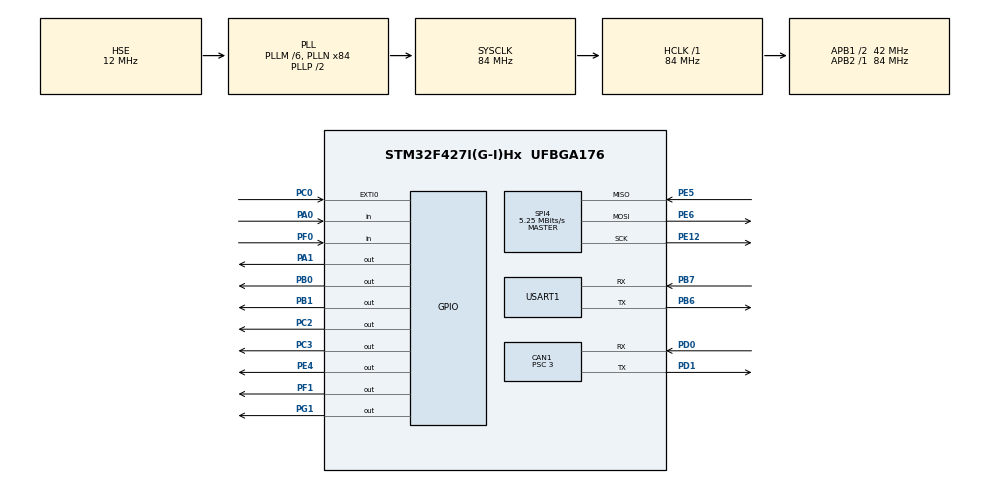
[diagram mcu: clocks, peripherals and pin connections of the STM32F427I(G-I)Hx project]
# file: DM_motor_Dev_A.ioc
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CAN1.BS1=CAN_BS1_9TQ
CAN1.BS2=CAN_BS2_4TQ
CAN1.CalculateBaudRate=1000000
CAN1.CalculateTimeBit=1000
CAN1.CalculateTimeQuantum=71.42857142857143
CAN1.Prescaler=3
Dma.Request0=USART1_RX
Dma.Request1=SPI4_TX
Dma.SPI4_TX.1.Direction=DMA_MEMORY_TO_PERIPH
Dma.SPI4_TX.1.FIFOMode=DMA_FIFOMODE_DISABLE
Dma.SPI4_TX.1.Instance=DMA2_Stream1
Dma.SPI4_TX.1.MemDataAlignment=DMA_MDATAALIGN_BYTE
Dma.SPI4_TX.1.MemInc=DMA_MINC_ENABLE
Dma.SPI4_TX.1.Mode=DMA_NORMAL
Dma.SPI4_TX.1.PeriphDataAlignment=DMA_PDATAALIGN_BYTE
Dma.SPI4_TX.1.PeriphInc=DMA_PINC_DISABLE
Dma.SPI4_TX.1.Priority=DMA_PRIORITY_LOW
Dma.USART1_RX.0.Direction=DMA_PERIPH_TO_MEMORY
Dma.USART1_RX.0.FIFOMode=DMA_FIFOMODE_DISABLE
Dma.USART1_RX.0.Instance=DMA2_Stream2
Dma.USART1_RX.0.MemDataAlignment=DMA_MDATAALIGN_BYTE
Dma.USART1_RX.0.MemInc=DMA_MINC_ENABLE
Dma.USART1_RX.0.Mode=DMA_CIRCULAR
Dma.USART1_RX.0.PeriphDataAlignment=DMA_PDATAALIGN_BYTE
Dma.USART1_RX.0.PeriphInc=DMA_PINC_DISABLE
Dma.USART1_RX.0.Priority=DMA_PRIORITY_LOW
FREERTOS.Tasks01=defaultTask,0,128,StartDefaultTask,Default,NULL,Dynamic,NULL,NULL;loadcellTask,-3,128,StartTask02,Default,NULL,Dynamic,NULL,NULL
Mcu.Family=STM32F4
Mcu.Name=STM32F427I(G-I)Hx
Mcu.Package=UFBGA176
NVIC.CAN1_RX0_IRQn=true\:5\:0\:false\:false\:true\:true\:true\:true\:true
NVIC.DMA2_Stream1_IRQn=true\:5\:0\:false\:false\:true\:true\:false\:true\:true
NVIC.DMA2_Stream2_IRQn=true\:5\:0\:false\:false\:true\:true\:false\:true\:true
NVIC.EXTI0_IRQn=true\:5\:0\:false\:false\:true\:true\:true\:true\:true
NVIC.PriorityGroup=NVIC_PRIORITYGROUP_4
NVIC.USART1_IRQn=true\:5\:0\:false\:false\:true\:true\:true\:true\:true
PA0/WKUP.GPIO_PuPd=GPIO_PULLUP
PA0/WKUP.Signal=GPIO_Input
PA1.Signal=GPIO_Output
PB0.Signal=GPIO_Output
PB1.Signal=GPIO_Output
PB6.Mode=Asynchronous
PB6.Signal=USART1_TX
PB7.Mode=Asynchronous
PB7.Signal=USART1_RX
PC0.Signal=GPXTI0
PC2.Signal=GPIO_Output
PC3.Signal=GPIO_Output
PD0.Mode=CAN_Activate
PD0.Signal=CAN1_RX
PD1.Mode=CAN_Activate
PD1.Signal=CAN1_TX
PE12.Mode=Full_Duplex_Master
PE12.Signal=SPI4_SCK
PE4.Signal=GPIO_Output
PE5.Mode=Full_Duplex_Master
PE5.Signal=SPI4_MISO
PE6.Mode=Full_Duplex_Master
PE6.Signal=SPI4_MOSI
PF0.Signal=GPIO_Input
PF1.Signal=GPIO_Output
PG1.Signal=GPIO_Output
PH0/OSC_IN.Mode=HSE-External-Oscillator
PH0/OSC_IN.Signal=RCC_OSC_IN
PH1/OSC_OUT.Mode=HSE-External-Oscillator
PH1/OSC_OUT.Signal=RCC_OSC_OUT
ProjectManager.HeapSize=0x200
ProjectManager.StackSize=0x400
ProjectManager.TargetToolchain=STM32CubeIDE
RCC.48MHZClocksFreq_Value=42000000
RCC.AHBFreq_Value=84000000
RCC.APB1CLKDivider=RCC_HCLK_DIV2
RCC.APB1Freq_Value=42000000
RCC.APB1TimFreq_Value=84000000
RCC.APB2Freq_Value=84000000
RCC.APB2TimFreq_Value=84000000
RCC.CortexFreq_Value=84000000
RCC.HCLKFreq_Value=84000000
RCC.HSE_VALUE=12000000
RCC.HSI_VALUE=16000000
RCC.LSE_VALUE=32768
RCC.PLLM=6
RCC.PLLN=84
RCC.PLLSourceVirtual=RCC_PLLSOURCE_HSE
RCC.SYSCLKFreq_VALUE=84000000
RCC.SYSCLKSource=RCC_SYSCLKSOURCE_PLLCLK
RCC.VCOOutputFreq_Value=168000000
SPI4.BaudRatePrescaler=SPI_BAUDRATEPRESCALER_16
SPI4.CalculateBaudRate=5.25 MBits/s
SPI4.DataSize=SPI_DATASIZE_8BIT
SPI4.Direction=SPI_DIRECTION_2LINES
SPI4.Mode=SPI_MODE_MASTER
SPI4.VirtualType=VM_MASTER
USART1.VirtualMode=VM_ASYNC
VP_FREERTOS_VS_CMSIS_V1.Mode=CMSIS_V1
board=custom

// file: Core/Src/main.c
/* USER CODE BEGIN Header */
/**
  ******************************************************************************
  * @file           : main.c
  * @brief          : Main program body
  ******************************************************************************
  * @attention
  *
  * Copyright (c) 2025 STMicroelectronics.
  * All rights reserved.
  *
  * This software is licensed under terms that can be found in the LICENSE file
  * in the root directory of this software component.
  * If no LICENSE file comes with this software, it is provided AS-IS.
  *
  ******************************************************************************
  */
/* USER CODE END Header */
#include "main.h"
#include "cmsis_os.h"

/* USER CODE BEGIN Includes */
#include "remote_control.h"
#include "hx711.h"
#include "./LCD_tft/z_displ_ILI9XXX.h"
#include "./LCD_tft/z_touch_XPT2046.h"
#include "bsp_damiao.h"
#include <math.h>

/* USER CODE END Includes */

/* USER CODE BEGIN PTD */
int16_t motor_rpm1;
/* USER CODE END PTD */

CAN_HandleTypeDef hcan1;

SPI_HandleTypeDef hspi4;
DMA_HandleTypeDef hdma_spi4_tx;

UART_HandleTypeDef huart1;
DMA_HandleTypeDef hdma_usart1_rx;

osThreadId defaultTaskHandle;
osThreadId loadcellTaskHandle;
/* USER CODE BEGIN PV */
RC_ctrl_t rc_ctrl;
HX711 hx;
int32_t weight;
int32_t value;
extern int16_t _width;       								///< (oriented) display width
extern int16_t _height;
extern dm_motor_t dm_pitch_motor;
float target_rpm = 0.0f;          /* Desired speed setpoint in RPM; update this variable to change target */
float commanded_rpm = 0.0f;       /* Internally ramped RPM command */
float measured_rpm = 0.0f;
float pid_int = 0.0f;
float pid_prev_err = 0.0f;

float target_position = 0.0f;
float current_position = 0.0f;
int round_counter = 0;
float tolerance = 0.06f;
float prev_pos = 0.0f;

//faster pid values
//static float pos_kp = 7.0f;
//static float pos_kd = 0.4f;

//not as fast pid values
float pos_kp = 0.5f;
float pos_kd = 0.0f;

/* USER CODE END PV */

void SystemClock_Config(void);
static void MX_GPIO_Init(void);
static void MX_DMA_Init(void);
static void MX_CAN1_Init(void);
static void MX_USART1_UART_Init(void);
static void MX_SPI4_Init(void);
void StartDefaultTask(void const * argument);
void StartTask02(void const * argument);

/* USER CODE BEGIN 0 */
void setup_can(){
 CAN_FilterTypeDef can_filter_st = {0};
 can_filter_st.FilterActivation = ENABLE;
 can_filter_st.FilterMode = CAN_FILTERMODE_IDMASK;
 can_filter_st.FilterScale = CAN_FILTERSCALE_32BIT;
 can_filter_st.FilterIdHigh = 0;
 can_filter_st.FilterIdLow = 0;
 can_filter_st.FilterMaskIdHigh = 0;
 can_filter_st.FilterMaskIdLow = 0;
 can_filter_st.FilterBank=0;
 can_filter_st.FilterFIFOAssignment = CAN_RX_FIFO0;
 HAL_CAN_ConfigFilter(&hcan1, &can_filter_st);
 HAL_CAN_Start(&hcan1);
 HAL_CAN_ActivateNotification(&hcan1,CAN_IT_RX_FIFO0_MSG_PENDING | CAN_IT_RX_FIFO0_FULL| CAN_IT_RX_FIFO0_OVERRUN);
}

void HAL_CAN_RxFifo0MsgPendingCallback(CAN_HandleTypeDef *hcan){
CAN_RxHeaderTypeDef rx_header;
uint8_t rx_buffer[8];
HAL_CAN_DeactivateNotification(hcan,
  CAN_IT_RX_FIFO0_MSG_PENDING | CAN_IT_RX_FIFO0_FULL| CAN_IT_RX_FIFO0_OVERRUN);
HAL_CAN_GetRxMessage(hcan, CAN_RX_FIFO0, &rx_header, rx_buffer);

if (rx_header.StdId == 0x203)
{
	motor_rpm1 = (rx_buffer[2] << 8) + rx_buffer[3];
}
/* DM4310 feedback frame: StdId = master ID (0x00). Byte0 low nibble holds motor ID. */
if (rx_header.StdId == 0x00) {
	uint8_t motor_id = rx_buffer[0] & 0x0F;
	if (motor_id == (dm_pitch_motor.id & 0x0F)) {
		dm4310_fbdata(&dm_pitch_motor, rx_buffer);
		measured_rpm = dm_pitch_motor.para.vel * (60.0f / (2.0f * (float)M_PI));
		if ((dm_pitch_motor.para.pos < - 12.5 + tolerance) && (prev_pos > 12.5 - tolerance) ){
			round_counter += 1;
		}
		if ((dm_pitch_motor.para.pos > 12.5 - tolerance) && (prev_pos < - 12.5 + tolerance)) {
			round_counter -= 1;
		}
		current_position = round_counter*8*PI + dm_pitch_motor.para.pos;
		prev_pos = dm_pitch_motor.para.pos;
	}
}

HAL_CAN_ActivateNotification(hcan,
  CAN_IT_RX_FIFO0_MSG_PENDING | CAN_IT_RX_FIFO0_FULL| CAN_IT_RX_FIFO0_OVERRUN);
}

void ctrl_motor(int16_t torque1){
 uint8_t tx_msg[8];
 CAN_TxHeaderTypeDef CAN_tx_message;
 uint32_t send_mail_box;
 CAN_tx_message.IDE = CAN_ID_STD;
 CAN_tx_message.RTR = CAN_RTR_DATA;
 CAN_tx_message.DLC = 0x08;
 CAN_tx_message.StdId = 0x200;
 tx_msg[4] = torque1>>8;
 tx_msg[5] = torque1;
 HAL_CAN_AddTxMessage(&hcan1, &CAN_tx_message, tx_msg, &send_mail_box);
}

#define KP 10
#define KI 0.1
#define KD 0
#define INT_MAX 5000
int16_t pid_lol(int16_t setpt, int16_t curr_pt){
	static float integral;
	static float prev_error;
	float error = setpt - curr_pt;
	integral += error * KI;
	integral = (integral > INT_MAX) ? INT_MAX : (integral < -INT_MAX) ? -INT_MAX : integral;
	float diff = (prev_error - error) * KD;
	prev_error = error;
	return (error * KP) + integral + diff;

}

static float pid_speed_step(float setpoint_rpm, float measured_rpm_val, float dt_s)
{
	const float kp = 0.8f;
	const float ki = 0.6f;
	const float kd = 0.0f;
	const float i_limit = 500.0f;    /* Integral windup guard */
	const float out_limit = 2000.0f; /* Command clamp in RPM */

	float err = setpoint_rpm - measured_rpm_val;
	pid_int += err * ki * dt_s;
	if (pid_int > i_limit) pid_int = i_limit;
	else if (pid_int < -i_limit) pid_int = -i_limit;

	float der = (err - pid_prev_err) / dt_s;
	pid_prev_err = err;

	float out = kp * err + pid_int + kd * der;
	if (out > out_limit) out = out_limit;
	else if (out < -out_limit) out = -out_limit;
	return out;
}

#define SPEED rc_ctrl.rc.ch[0]

void HAL_GPIO_EXTI_Callback(uint16_t GPIO_Pin) {
	if (GPIO_Pin == GPIO_PIN_0) {
		hx.ready = true;
	}
	if (GPIO_Pin==TOUCH_INT_Pin){
			Touch_HandlePenDownInterrupt();
		}
}

void tft_set_addr_window(uint16_t x0,uint16_t y0,uint16_t x1,uint16_t y1)
{
    uint8_t caset[4] = { x0>>8, x0&0xFF, x1>>8, x1&0xFF };
    uint8_t raset[4] = { y0>>8, y0&0xFF, y1>>8, y1&0xFF };

    Displ_WriteCommand(0x2A);
    Displ_WriteData(caset,4,0);

    Displ_WriteCommand(0x2B);
    Displ_WriteData(raset,4,0);

    Displ_WriteCommand(0x2C); // RAMWR
}

void tft_put_pixel(uint16_t x,uint16_t y,uint16_t color)
{
    tft_set_addr_window(x,y,x,y);
    uint8_t px[2] = {color>>8, color&0xFF};
    Displ_WriteData(px, 2, 1);
}

/* USER CODE END 0 */

int main(void)
{

  /* MCU Configuration--------------------------------------------------------*/

  /* Reset of all peripherals, Initializes the Flash interface and the Systick. */
  HAL_Init();

  /* Configure the system clock */
  SystemClock_Config();

  /* Initialize all configured peripherals */
  MX_GPIO_Init();
  MX_DMA_Init();
  MX_CAN1_Init();
  MX_USART1_UART_Init();
  MX_SPI4_Init();
  /* USER CODE BEGIN 2 */
//  HAL_GPIO_WritePin(GPIOE, GPIO_PIN_4, GPIO_PIN_SET);
//  HAL_GPIO_WritePin(GPIOB, GPIO_PIN_1, GPIO_PIN_SET);
  setup_can();

//  remote_control_init();
//  hx711_init(&hx, GPIOF, GPIO_PIN_0, GPIOF, GPIO_PIN_1,HX711_GAIN_128);
//  Displ_Init(Displ_Orientat_0);
//  InitMenu();

  // Example: red, green, blue pixels in top row
//  tft_put_pixel(0,0,0xF800);
//  tft_put_pixel(1,0,0x07E0);
//  tft_put_pixel(2,0,0x001F);
//  Displ_WriteCommand(0x2A);
//  uint8_t colData[4] = {0x00,0x00, 0x01,0x3F};
//  Displ_WriteData(colData,4,0);
//
//  // Page range 0–479
//  Displ_WriteCommand(0x2B);
//  uint8_t pageData[4] = {0x00,0x00, 0x01,0xDF};
//  Displ_WriteData(pageData,4,0);
//
//  // Memory write
//  Displ_WriteCommand(0x2C);

//  Displ_FillArea(0,0, _width, _height, RED);
//  Displ_WriteCommand(0x2A);   // Column Address Set
//  uint8_t colData[4] = {0x00, 0x00, 0x01, 0x3F}; // 0..319
//  Displ_WriteData(colData, 4, 0);
//
//
//  Displ_WriteCommand(0x2B);   // Page Address Set
//  uint8_t pageData[4] = {0x00, 0x00, 0x01, 0xDF}; // 0..479
//  Displ_WriteData(pageData, 4, 0);
//
//  Displ_WriteCommand(0x2C);
//
//  HAL_GPIO_WritePin(DISPL_DC_GPIO_Port, DISPL_DC_Pin, GPIO_PIN_SET);
//  for (int i = 0; i < 320 * 480; i++) {
//      uint8_t black[2] = {0xFF, 0xFF};
//      Displ_WriteData(black, 2, 0);
//  }

  /* USER CODE END 2 */

  /* Create the thread(s) */
  /* definition and creation of defaultTask */
  osThreadDef(defaultTask, StartDefaultTask, osPriorityNormal, 0, 128);
  defaultTaskHandle = osThreadCreate(osThread(defaultTask), NULL);

  /* definition and creation of loadcellTask */
//  osThreadDef(loadcellTask, StartTask02, osPriorityIdle, 0, 128);
//  loadcellTaskHandle = osThreadCreate(osThread(loadcellTask), NULL);

  /* Start scheduler */
  osKernelStart();

  /* We should never get here as control is now taken by the scheduler */
  /* Infinite loop */
  while (1)
  {

  }
}

void SystemClock_Config(void)
{
  RCC_OscInitTypeDef RCC_OscInitStruct = {0};
  RCC_ClkInitTypeDef RCC_ClkInitStruct = {0};

  /** Configure the main internal regulator output voltage
  */
  __HAL_RCC_PWR_CLK_ENABLE();
  __HAL_PWR_VOLTAGESCALING_CONFIG(PWR_REGULATOR_VOLTAGE_SCALE3);

  /** Initializes the RCC Oscillators according to the specified parameters
  * in the RCC_OscInitTypeDef structure.
  */
  RCC_OscInitStruct.OscillatorType = RCC_OSCILLATORTYPE_HSE;
  RCC_OscInitStruct.HSEState = RCC_HSE_ON;
  RCC_OscInitStruct.PLL.PLLState = RCC_PLL_ON;
  RCC_OscInitStruct.PLL.PLLSource = RCC_PLLSOURCE_HSE;
  RCC_OscInitStruct.PLL.PLLM = 6;
  RCC_OscInitStruct.PLL.PLLN = 84;
  RCC_OscInitStruct.PLL.PLLP = RCC_PLLP_DIV2;
  RCC_OscInitStruct.PLL.PLLQ = 4;
  if (HAL_RCC_OscConfig(&RCC_OscInitStruct) != HAL_OK)
  {
    Error_Handler();
  }

  /** Initializes the CPU, AHB and APB buses clocks
  */
  RCC_ClkInitStruct.ClockType = RCC_CLOCKTYPE_HCLK|RCC_CLOCKTYPE_SYSCLK
                              |RCC_CLOCKTYPE_PCLK1|RCC_CLOCKTYPE_PCLK2;
  RCC_ClkInitStruct.SYSCLKSource = RCC_SYSCLKSOURCE_PLLCLK;
  RCC_ClkInitStruct.AHBCLKDivider = RCC_SYSCLK_DIV1;
  RCC_ClkInitStruct.APB1CLKDivider = RCC_HCLK_DIV2;
  RCC_ClkInitStruct.APB2CLKDivider = RCC_HCLK_DIV1;

  if (HAL_RCC_ClockConfig(&RCC_ClkInitStruct, FLASH_LATENCY_2) != HAL_OK)
  {
    Error_Handler();
  }
}

static void MX_CAN1_Init(void)
{

  hcan1.Instance = CAN1;
  hcan1.Init.Prescaler = 3;
  hcan1.Init.Mode = CAN_MODE_NORMAL;
  hcan1.Init.SyncJumpWidth = CAN_SJW_1TQ;
  hcan1.Init.TimeSeg1 = CAN_BS1_9TQ;
  hcan1.Init.TimeSeg2 = CAN_BS2_4TQ;
  hcan1.Init.TimeTriggeredMode = DISABLE;
  hcan1.Init.AutoBusOff = DISABLE;
  hcan1.Init.AutoWakeUp = DISABLE;
  hcan1.Init.AutoRetransmission = DISABLE;
  hcan1.Init.ReceiveFifoLocked = DISABLE;
  hcan1.Init.TransmitFifoPriority = DISABLE;
  if (HAL_CAN_Init(&hcan1) != HAL_OK)
  {
    Error_Handler();
  }

}

static void MX_SPI4_Init(void)
{

  /* SPI4 parameter configuration*/
  hspi4.Instance = SPI4;
  hspi4.Init.Mode = SPI_MODE_MASTER;
  hspi4.Init.Direction = SPI_DIRECTION_2LINES;
  hspi4.Init.DataSize = SPI_DATASIZE_8BIT;
  hspi4.Init.CLKPolarity = SPI_POLARITY_LOW;
  hspi4.Init.CLKPhase = SPI_PHASE_1EDGE;
  hspi4.Init.NSS = SPI_NSS_SOFT;
  hspi4.Init.BaudRatePrescaler = SPI_BAUDRATEPRESCALER_16;
  hspi4.Init.FirstBit = SPI_FIRSTBIT_MSB;
  hspi4.Init.TIMode = SPI_TIMODE_DISABLE;
  hspi4.Init.CRCCalculation = SPI_CRCCALCULATION_DISABLE;
  hspi4.Init.CRCPolynomial = 10;
  if (HAL_SPI_Init(&hspi4) != HAL_OK)
  {
    Error_Handler();
  }

}

static void MX_USART1_UART_Init(void)
{

  huart1.Instance = USART1;
  huart1.Init.BaudRate = 115200;
  huart1.Init.WordLength = UART_WORDLENGTH_8B;
  huart1.Init.StopBits = UART_STOPBITS_1;
  huart1.Init.Parity = UART_PARITY_NONE;
  huart1.Init.Mode = UART_MODE_TX_RX;
  huart1.Init.HwFlowCtl = UART_HWCONTROL_NONE;
  huart1.Init.OverSampling = UART_OVERSAMPLING_16;
  if (HAL_UART_Init(&huart1) != HAL_OK)
  {
    Error_Handler();
  }

}

static void MX_DMA_Init(void)
{

  /* DMA controller clock enable */
  __HAL_RCC_DMA2_CLK_ENABLE();

  /* DMA interrupt init */
  /* DMA2_Stream1_IRQn interrupt configuration */
  HAL_NVIC_SetPriority(DMA2_Stream1_IRQn, 5, 0);
  HAL_NVIC_EnableIRQ(DMA2_Stream1_IRQn);
  /* DMA2_Stream2_IRQn interrupt configuration */
  HAL_NVIC_SetPriority(DMA2_Stream2_IRQn, 5, 0);
  HAL_NVIC_EnableIRQ(DMA2_Stream2_IRQn);

}

static void MX_GPIO_Init(void)
{
  GPIO_InitTypeDef GPIO_InitStruct = {0};

  /* GPIO Ports Clock Enable */
  __HAL_RCC_GPIOE_CLK_ENABLE();
  __HAL_RCC_GPIOB_CLK_ENABLE();
  __HAL_RCC_GPIOD_CLK_ENABLE();
  __HAL_RCC_GPIOF_CLK_ENABLE();
  __HAL_RCC_GPIOH_CLK_ENABLE();
  __HAL_RCC_GPIOC_CLK_ENABLE();
  __HAL_RCC_GPIOG_CLK_ENABLE();
  __HAL_RCC_GPIOA_CLK_ENABLE();

  /*Configure GPIO pin Output Level */
  HAL_GPIO_WritePin(GPIOE, GPIO_PIN_4, GPIO_PIN_RESET);

  /*Configure GPIO pin Output Level */
  HAL_GPIO_WritePin(GPIOF, GPIO_PIN_1, GPIO_PIN_RESET);

  /*Configure GPIO pin Output Level */
  HAL_GPIO_WritePin(GPIOC, GPIO_PIN_2|GPIO_PIN_3, GPIO_PIN_RESET);

  /*Configure GPIO pin Output Level */
  HAL_GPIO_WritePin(GPIOG, GPIO_PIN_1, GPIO_PIN_RESET);

  /*Configure GPIO pin Output Level */
  HAL_GPIO_WritePin(GPIOA, GPIO_PIN_1, GPIO_PIN_RESET);

  /*Configure GPIO pin Output Level */
  HAL_GPIO_WritePin(GPIOB, GPIO_PIN_1|GPIO_PIN_0, GPIO_PIN_RESET);

  /*Configure GPIO pin : PE4 */
  GPIO_InitStruct.Pin = GPIO_PIN_4;
  GPIO_InitStruct.Mode = GPIO_MODE_OUTPUT_PP;
  GPIO_InitStruct.Pull = GPIO_NOPULL;
  GPIO_InitStruct.Speed = GPIO_SPEED_FREQ_LOW;
  HAL_GPIO_Init(GPIOE, &GPIO_InitStruct);

  /*Configure GPIO pin : PF0 */
  GPIO_InitStruct.Pin = GPIO_PIN_0;
  GPIO_InitStruct.Mode = GPIO_MODE_INPUT;
  GPIO_InitStruct.Pull = GPIO_NOPULL;
  HAL_GPIO_Init(GPIOF, &GPIO_InitStruct);

  /*Configure GPIO pin : PF1 */
  GPIO_InitStruct.Pin = GPIO_PIN_1;
  GPIO_InitStruct.Mode = GPIO_MODE_OUTPUT_PP;
  GPIO_InitStruct.Pull = GPIO_NOPULL;
  GPIO_InitStruct.Speed = GPIO_SPEED_FREQ_LOW;
  HAL_GPIO_Init(GPIOF, &GPIO_InitStruct);

  /*Configure GPIO pin : PC0 */
  GPIO_InitStruct.Pin = GPIO_PIN_0;
  GPIO_InitStruct.Mode = GPIO_MODE_IT_RISING;
  GPIO_InitStruct.Pull = GPIO_NOPULL;
  HAL_GPIO_Init(GPIOC, &GPIO_InitStruct);

  /*Configure GPIO pins : PC2 PC3 */
  GPIO_InitStruct.Pin = GPIO_PIN_2|GPIO_PIN_3;
  GPIO_InitStruct.Mode = GPIO_MODE_OUTPUT_PP;
  GPIO_InitStruct.Pull = GPIO_NOPULL;
  GPIO_InitStruct.Speed = GPIO_SPEED_FREQ_LOW;
  HAL_GPIO_Init(GPIOC, &GPIO_InitStruct);

  /*Configure GPIO pin : PG1 */
  GPIO_InitStruct.Pin = GPIO_PIN_1;
  GPIO_InitStruct.Mode = GPIO_MODE_OUTPUT_PP;
  GPIO_InitStruct.Pull = GPIO_NOPULL;
  GPIO_InitStruct.Speed = GPIO_SPEED_FREQ_LOW;
  HAL_GPIO_Init(GPIOG, &GPIO_InitStruct);

  /*Configure GPIO pin : PA1 */
  GPIO_InitStruct.Pin = GPIO_PIN_1;
  GPIO_InitStruct.Mode = GPIO_MODE_OUTPUT_PP;
  GPIO_InitStruct.Pull = GPIO_NOPULL;
  GPIO_InitStruct.Speed = GPIO_SPEED_FREQ_LOW;
  HAL_GPIO_Init(GPIOA, &GPIO_InitStruct);

  /*Configure GPIO pin : PA0 */
  GPIO_InitStruct.Pin = GPIO_PIN_0;
  GPIO_InitStruct.Mode = GPIO_MODE_INPUT;
  GPIO_InitStruct.Pull = GPIO_PULLUP;
  HAL_GPIO_Init(GPIOA, &GPIO_InitStruct);

  /*Configure GPIO pins : PB1 PB0 */
  GPIO_InitStruct.Pin = GPIO_PIN_1|GPIO_PIN_0;
  GPIO_InitStruct.Mode = GPIO_MODE_OUTPUT_PP;
  GPIO_InitStruct.Pull = GPIO_NOPULL;
  GPIO_InitStruct.Speed = GPIO_SPEED_FREQ_LOW;
  HAL_GPIO_Init(GPIOB, &GPIO_InitStruct);

  /* EXTI interrupt init*/
  HAL_NVIC_SetPriority(EXTI0_IRQn, 5, 0);
  HAL_NVIC_EnableIRQ(EXTI0_IRQn);

}

void StartDefaultTask(void const * argument)
{
  /* USER CODE BEGIN 5 */
//	int16_t state = 0;
//	int16_t unlock = 0;
  vTaskDelay(1000);
  dm4310_motor_init();
  /* Configure for MIT mode speed control with a gentle slew to the target RPM */
//  dm_pitch_motor.ctrl.mode   = 0;     /* MIT mode */
//  dm_pitch_motor.ctrl.pos_set = 0.0f;
//  dm_pitch_motor.ctrl.kp_set  = 0.0f;
//  dm_pitch_motor.ctrl.kd_set  = 0.0f;
//  dm_pitch_motor.ctrl.tor_set = 0.0f;
  target_rpm = 100.0f;                /* Default target RPM; adjust as needed at runtime */
  float positive_rpm = 100.0f;
  const TickType_t loop_period_ms = 10;    /* Control loop period */
  /* Infinite loop */
  for(;;)
  {
	  volatile float final_pos;
	  volatile int count_spin = (int) (target_position + 4 * PI) / (8 * PI);
	  if (target_position < 0){
		  count_spin -= 1;
		  final_pos = fmodf(target_position - 4 * PI, 8*PI) + 4*PI;
	  } else {
		  final_pos = fmodf(target_position + 4 * PI, 8*PI) - 4*PI;
	  }
	  /* PID speed control using CAN feedback to avoid aggressive spin-up */
//	  const float dt = loop_period_ms / 1000.0f;
//	  commanded_rpm = pid_speed_step(target_rpm, measured_rpm, dt);

	  /* Convert RPM to rad/s for MIT velocity field */
	  if (count_spin == round_counter){
		  dm_pitch_motor.ctrl.vel_set = 0;
		  dm_pitch_motor.ctrl.pos_set = final_pos;
		  dm_pitch_motor.ctrl.kp_set = pos_kp;
		  dm_pitch_motor.ctrl.kd_set = pos_kd;
	  } else {
		  target_rpm = positive_rpm;
		  if (count_spin < round_counter){
			  target_rpm = - target_rpm;
		  }
		  dm_pitch_motor.ctrl.pos_set = 0;
		  const float cmd_rad_per_s = target_rpm * (2.0f * (float)M_PI / 60.0f);
		  dm_pitch_motor.ctrl.vel_set = cmd_rad_per_s;
		  dm_pitch_motor.ctrl.kp_set = 0;
		  dm_pitch_motor.ctrl.kd_set = 1.5;
	  }
//	  dm_pitch_motor.ctrl.pos_set = 0;
//	  const float cmd_rad_per_s = target_rpm * (2.0f * (float)M_PI / 60.0f);
//	  dm_pitch_motor.ctrl.vel_set = cmd_rad_per_s;
//	  dm_pitch_motor.ctrl.kp_set = 0;
//	  dm_pitch_motor.ctrl.kd_set = 1.5;
	  dm4310_ctrl_send(&hcan1, &dm_pitch_motor);
	  vTaskDelay(loop_period_ms);
  }
  /* USER CODE END 5 */
}

void StartTask02(void const * argument)
{
  /* USER CODE BEGIN StartTask02 */
  /* Infinite loop */
  for(;;)
  {
//	if (hx.ready){
//		hx.ready = false;
//		weight = hx711_read_raw(&hx);
//	}
//	  value = HAL_GPIO_ReadPin(GPIOF, GPIO_PIN_0);
//	  if (value == 1){
//		  continue;
//	  }
//	  value = 0;
//	  for (uint8_t i = 0; i < 24; ++i) {
//		HAL_GPIO_WritePin(hx.sck_port, hx.sck_pin, GPIO_PIN_SET);
//		hx711_delay_us(hx.sck_delay_us);
//		value = (value << 1) | (HAL_GPIO_ReadPin(hx.dout_port, hx.dout_pin) == GPIO_PIN_SET ? 1 : 0);
//		HAL_GPIO_WritePin(hx.sck_port, hx.sck_pin, GPIO_PIN_RESET);
//		if (value == 1) {
//			__NOP();
//			hx711_delay_us(hx.sck_delay_us);
//		} else {
//			hx711_delay_us(hx.sck_delay_us);
//		}
//		__NOP();
//	  }
//	  if (value & 0x800000) { value |= 0xFF000000; }
	  weight = hx711_read_raw(&hx);
	  osDelay(1000);
  }
  /* USER CODE END StartTask02 */
}

void Error_Handler(void)
{
  __disable_irq();
  while (1)
  {
  }
}
